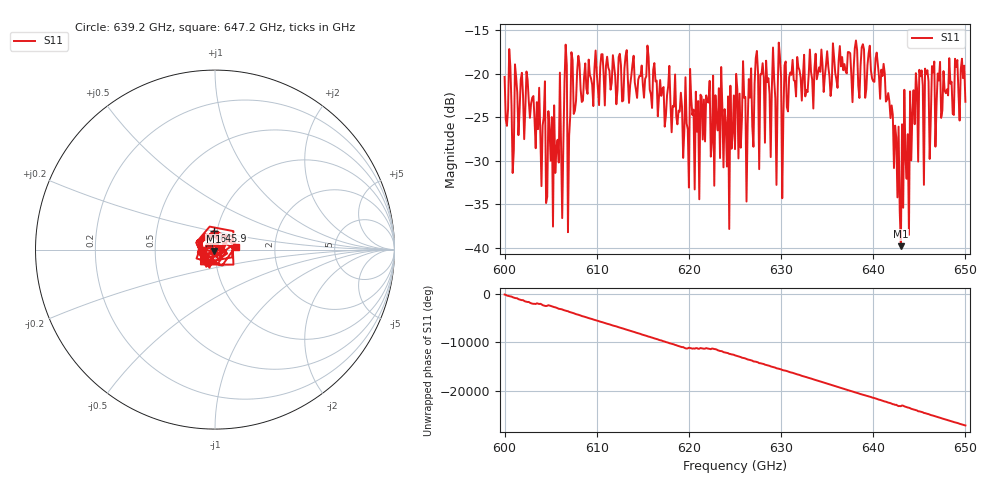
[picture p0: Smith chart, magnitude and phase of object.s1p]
!Created with skrf (http://scikit-rf.org).
# GHz S MA R 50.0
!freq magS11 angS11
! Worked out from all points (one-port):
!   401 points, 600 GHz to 650 GHz, reference 50 ohm
!   lowest |S11| = -39.8 dB at 643 GHz (marker M1), VSWR 1.02, Z = 49.4 - j0.825 ohm
!   |S11| at or under -10 dB: start of sweep to end of sweep
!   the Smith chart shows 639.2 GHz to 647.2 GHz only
!   S11 on the Smith chart (normalised r, x): 639.2 GHz: 0.88, -0.09; 645.9 GHz: 0.97, +0.20; 647.2 GHz: 1.26, +0.03
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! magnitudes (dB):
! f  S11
! 600 GHz  -20.3
! 602.6 GHz  -23.2
! 604.8 GHz  -24.3
! 606.2 GHz  -36.6
! 608 GHz  -17.9
! 612.5 GHz  -17.7
! 615.5 GHz  -16.7
! 618.8 GHz  -25.8
! 620.9 GHz  -26.6
! 622 GHz  -23.2
! 622.6 GHz  -20.2
! 623.4 GHz  -29.7
! 624.4 GHz  -37.8
! 625 GHz  -28.6
! 626.4 GHz  -25.8
! 627.2 GHz  -18.2
! 630.4 GHz  -19.0
! 631.2 GHz  -18.4
! 637.5 GHz  -17.6
! 639.2 GHz  -21.8
! 641.1 GHz  -18.8
! 643 GHz  -39.8
! 643.4 GHz  -21.8
! 643.8 GHz  -26.9
! 644.5 GHz  -25.8
! 645.9 GHz  -19.6
! 647.2 GHz  -18.6
! 650 GHz  -23.2
